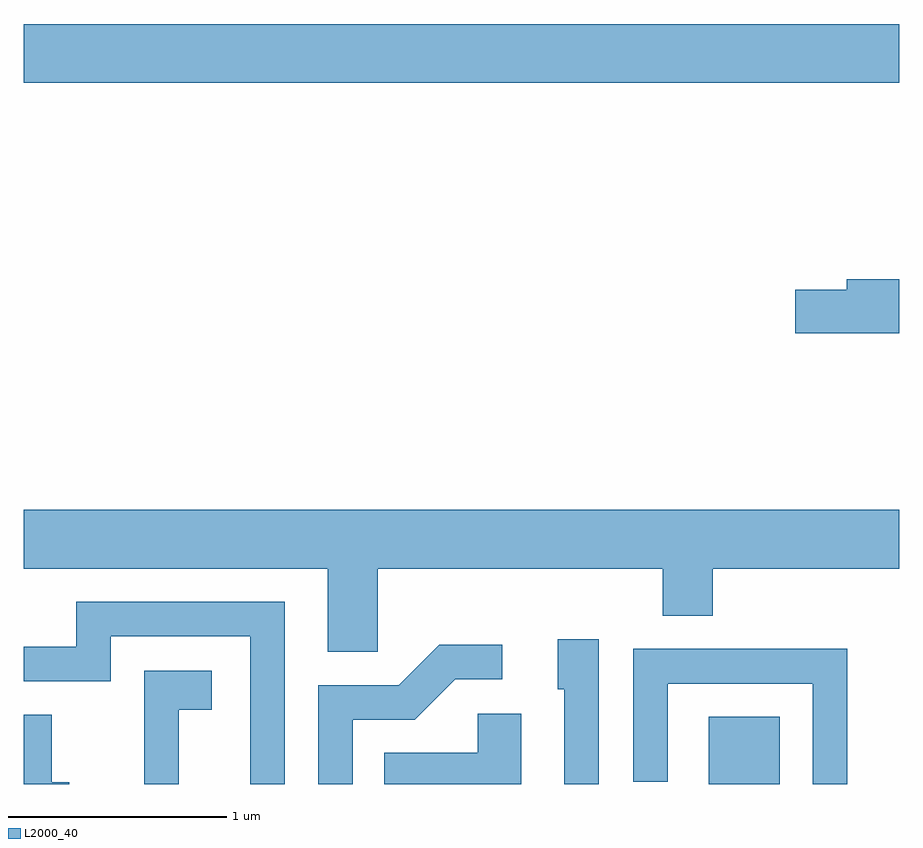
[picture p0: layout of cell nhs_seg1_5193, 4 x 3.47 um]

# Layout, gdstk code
import gdstk
lib = gdstk.Library(unit=1e-6, precision=1e-09)
def R(c, l, rs):  # rectangles x0, y0, x1, y1
    for r in rs: c.add(gdstk.rectangle(r[:2], r[2:], *l))
def P(c, l, *ps):  # polygons
    for p in ps: c.add(gdstk.Polygon(p, *l))
L2000_40 = (2000, 40)

nhs_seg1_5193 = lib.new_cell('nhs_seg1_5193')
R(nhs_seg1_5193, L2000_40, [(344.741,889.712,345.064,890.019), (341.611,892.916,345.611,893.184)])
P(nhs_seg1_5193, L2000_40, [(345.611,892.019),(345.371,892.019),(345.371,891.969),(345.136,891.969),(345.136,891.771),(345.611,891.771)],
  [(343.229,890.696),(344.531,890.696),(344.531,890.481),(344.759,890.481),(344.759,890.696),(345.611,890.696),(345.611,890.964),(341.611,890.964),(341.611,890.696),(343.001,890.696),(343.001,890.316),(343.229,890.316)],
  [(342.804,890.544),(341.851,890.544),(341.851,890.339),(341.611,890.339),(341.611,890.181),(342.009,890.181),(342.009,890.386),(342.646,890.386),(342.646,889.712),(342.804,889.712)],
  [(344.239,890.374),(344.051,890.374),(344.051,890.146),(344.081,890.146),(344.081,889.712),(344.239,889.712)],
  [(343.114,890.006),(343.397,890.006),(343.582,890.191),(343.798,890.191),(343.798,890.349),(343.509,890.349),(343.324,890.164),(342.956,890.164),(342.956,889.712),(343.114,889.712)],
  [(345.374,890.329),(344.396,890.329),(344.396,889.723),(344.554,889.723),(344.554,890.171),(345.216,890.171),(345.216,889.712),(345.374,889.712)],
  [(342.319,890.051),(342.469,890.051),(342.469,890.229),(342.161,890.229),(342.161,889.712),(342.319,889.712)],
  [(343.884,890.034),(343.686,890.034),(343.686,889.854),(343.258,889.854),(343.258,889.712),(343.884,889.712)],
  [(341.818,889.719),(341.739,889.719),(341.739,890.029),(341.611,890.029),(341.611,889.712),(341.818,889.712)])

lib.write_gds('nhs_seg1_5193.gds')
